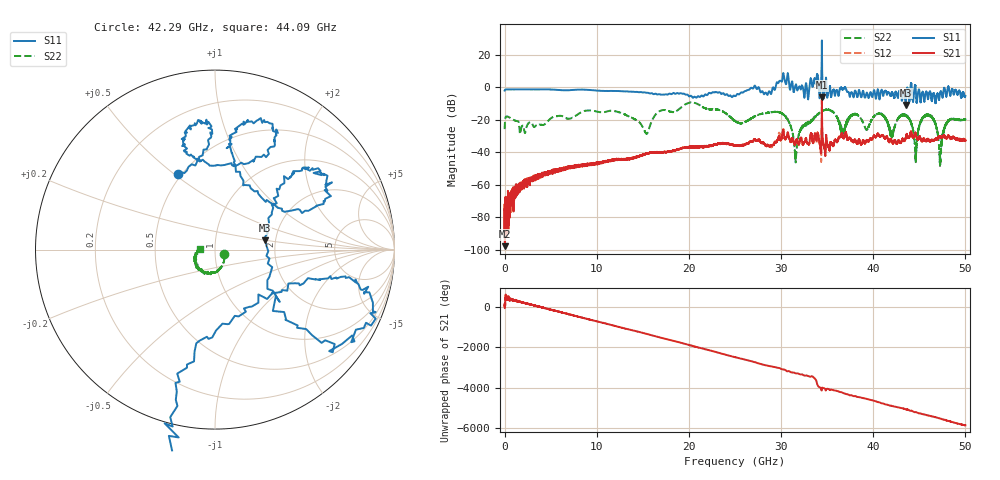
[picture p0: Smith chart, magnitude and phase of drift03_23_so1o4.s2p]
!Created with skrf (http://scikit-rf.org).
# Hz S RI R 50.0
!freq ReS11 ImS11 ReS21 ImS21 ReS12 ImS12 ReS22 ImS22
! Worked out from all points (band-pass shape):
!   10000 points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, 5.3 MHz to 50 GHz, reference 50 ohm
!   highest |S21| = -6.33 dB at 34.43 GHz (marker M1); lowest = -97.9 dB at 35.3 MHz (marker M2)
!   |S21| within 3 dB of the highest: 34.4276 GHz to 34.43477 GHz (7.171 MHz wide, 0.0208 % of centre)
!   lowest |S11| = -10.9 dB at 43.52 GHz (marker M3), VSWR 1.80, Z = 88.2 + j9.87 ohm
!   |S11| at or under -10 dB: 43.49598 GHz to 43.54216 GHz (46.18 MHz wide, 0.106 % of centre)
!   |S22| runs from -48.5 to -9.4 dB; largest |S21 - S12| = 0.14
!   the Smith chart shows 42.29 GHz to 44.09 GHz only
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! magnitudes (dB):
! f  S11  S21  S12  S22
! 5.3 MHz  -2.1  -75.6  -77.4  -25.8
! 35.3 MHz  -1.7  -97.9  -78.2  -22.0
! 2.585 GHz  -1.4  -58.2  -58.5  -22.3
! 8.34 GHz  -1.5  -48.2  -48.6  -15.4
! 15.39 GHz  -3.5  -40.9  -41.0  -28.7
! 16.67 GHz  -4.4  -40.0  -40.0  -15.3
! 20.44 GHz  -6.5  -36.7  -36.8  -9.5
! 25.01 GHz  -5.5  -35.9  -35.9  -20.7
! 29.96 GHz  3.9  -32.7  -32.4  -15.8
! 31.6 GHz  1.5  -33.8  -34.1  -44.5
! 33.34 GHz  2.6  -30.0  -30.4  -20.3
! 34.43 GHz  28.8  -6.3  -8.1  -14.6
! 36.69 GHz  -1.3  -29.8  -29.8  -27.9
! 37.96 GHz  -3.7  -32.6  -32.6  -16.5
! 41.67 GHz  -3.1  -33.5  -33.4  -23.3
! 43.52 GHz  -10.9  -31.4  -31.6  -17.9
! 44.61 GHz  -1.2  -28.9  -28.9  -45.6
! 45.27 GHz  -3.9  -33.2  -33.3  -20.2
! 46.28 GHz  -5.6  -32.7  -32.9  -17.8
! 47.29 GHz  -2.9  -30.8  -30.6  -45.1
! 48.15 GHz  0.4  -30.2  -29.8  -20.2
! 50 GHz  -5.3  -32.9  -32.6  -19.7
